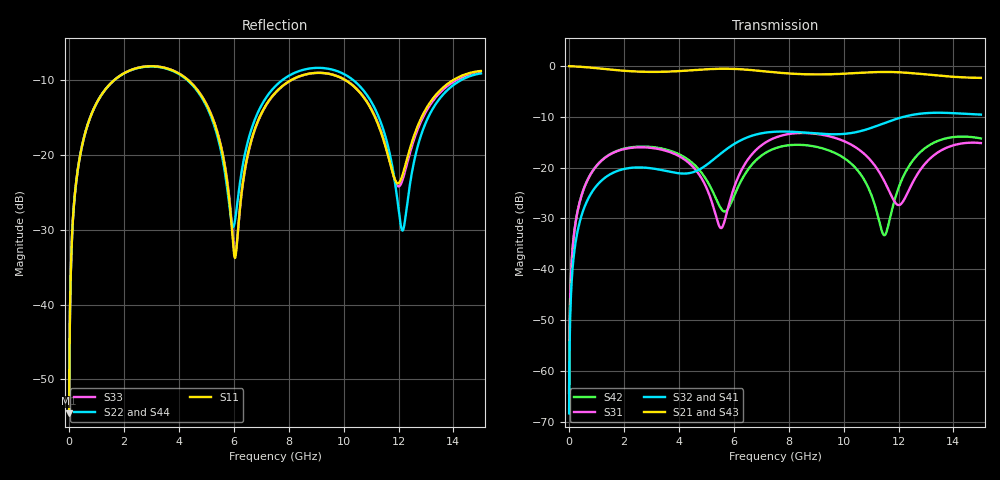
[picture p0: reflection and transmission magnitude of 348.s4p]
! Created with skrf 1.8.0 (http://scikit-rf.org).
# GHz S RI R 50.0
!freq ReS11 ImS11 ReS12 ImS12 ReS13 ImS13
! ReS14 ImS14
! ReS21 ImS21 ReS22 ImS22 ReS23 ImS23
! ReS24 ImS24
! ReS31 ImS31 ReS32 ImS32 ReS33 ImS33
! ReS34 ImS34
! ReS41 ImS41 ReS42 ImS42 ReS43 ImS43
! ReS44 ImS44
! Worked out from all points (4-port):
!   2499 points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, 5 MHz to 15 GHz, reference 50 ohm
!   strongest paths, dB at 5 MHz, 3.476 GHz, 7.19 GHz, 11.1 GHz, 15 GHz:
!     S21: 0.0, -1.1, -1.1, -1.2, -2.3
!     S43: 0.0, -1.1, -1.1, -1.2, -2.3
!     S32: -68.4, -20.6, -13.1, -12.0, -9.5
!     S41: -68.4, -20.6, -13.1, -12.0, -9.6
!     S31: -64.4, -16.6, -14.9, -19.3, -15.2
!     S42: -64.4, -16.3, -17.0, -26.7, -14.3
!   lowest |S11| = -54.6 dB at 5 MHz (marker M1), VSWR 1.00, Z = 50.1 + j0.114 ohm
!   |S11| at or under -10 dB: start of sweep to 1.641 GHz; 4.343 GHz to 8.078 GHz (3.735 GHz wide, 60.1 % of centre); 10.07 GHz to 13.98 GHz (3.907 GHz wide, 32.5 % of centre)
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0.005  0.00149 0.00113  0.9985 -0.0029  7.47e-05 0.0006  -7.26e-05 -0.000374
       0.9985 -0.0029  0.00149 0.00113  -7.26e-05 -0.000374  7.48e-05 0.0006
       7.47e-05 0.0006  -7.26e-05 -0.000374  0.00149 0.00113  0.9985 -0.0029
       -7.26e-05 -0.000374  7.48e-05 0.0006  0.9985 -0.0029  0.00149 0.00113
0.3126303  0.0205 0.0751  0.9721 -0.1813  0.00926 0.036  -0.0078 -0.0223
           0.9721 -0.1813  0.0205 0.0751  -0.0078 -0.0223  0.00948 0.0359
           0.00926 0.036  -0.0078 -0.0223  0.0205 0.0751  0.9721 -0.1813
           -0.0078 -0.0223  0.00948 0.0359  0.9721 -0.1813  0.0205 0.0751
1.569404  0.245 0.1862  0.6026 -0.6966  0.1184 0.0714  -0.0868 -0.0148
          0.6026 -0.6966  0.244 0.1866  -0.0868 -0.0148  0.1218 0.0673
          0.1184 0.0714  -0.0868 -0.0148  0.245 0.1862  0.6025 -0.6966
          -0.0868 -0.0148  0.1218 0.0673  0.6025 -0.6966  0.2441 0.1866
5.852439  0.0231 -0.0411  -0.9289 -0.1502  0.0318 0.0335  -0.0227 0.1585
          -0.9289 -0.1502  0.0342 -0.0276  -0.0213 0.1586  -0.0361 0.0215
          0.0318 0.0335  -0.0213 0.1586  0.0244 -0.0425  -0.9288 -0.1503
          -0.0227 0.1585  -0.0361 0.0215  -0.9288 -0.1503  0.0334 -0.0293
9.416424  0.3495 -0.0298  0.0293 0.8294  0.1479 -0.1429  0.2006 -0.0731
          0.0293 0.8294  0.3722 -0.0691  0.2 -0.0754  0.1441 -0.0395
          0.1479 -0.1429  0.2 -0.0754  0.3493 -0.0324  0.0305 0.8292
          0.2006 -0.0731  0.1441 -0.0395  0.0305 0.8292  0.3731 -0.0675
12.14256  0.0665 0.0305  0.8595 0.1037  -0.0264 0.0371  0.0303 -0.3125
          0.8595 0.1037  0.0311 -0.00265  0.0264 -0.3133  0.0477 0.0623
          -0.0264 0.0371  0.0264 -0.3133  0.0632 0.0246  0.8597 0.1028
          0.0303 -0.3125  0.0477 0.0623  0.8597 0.1028  0.0355 -0.00705
15  0.3635 0.0324  0.2125 -0.7355  0.1429 -0.1004  -0.3299 -0.0329
    0.2125 -0.7355  0.3483 0.047  -0.332 -0.0266  0.1555 -0.1157
    0.1429 -0.1004  -0.332 -0.0266  0.3532 0.032  0.2091 -0.74
    -0.3299 -0.0329  0.1555 -0.1157  0.2091 -0.74  0.3422 0.0393
